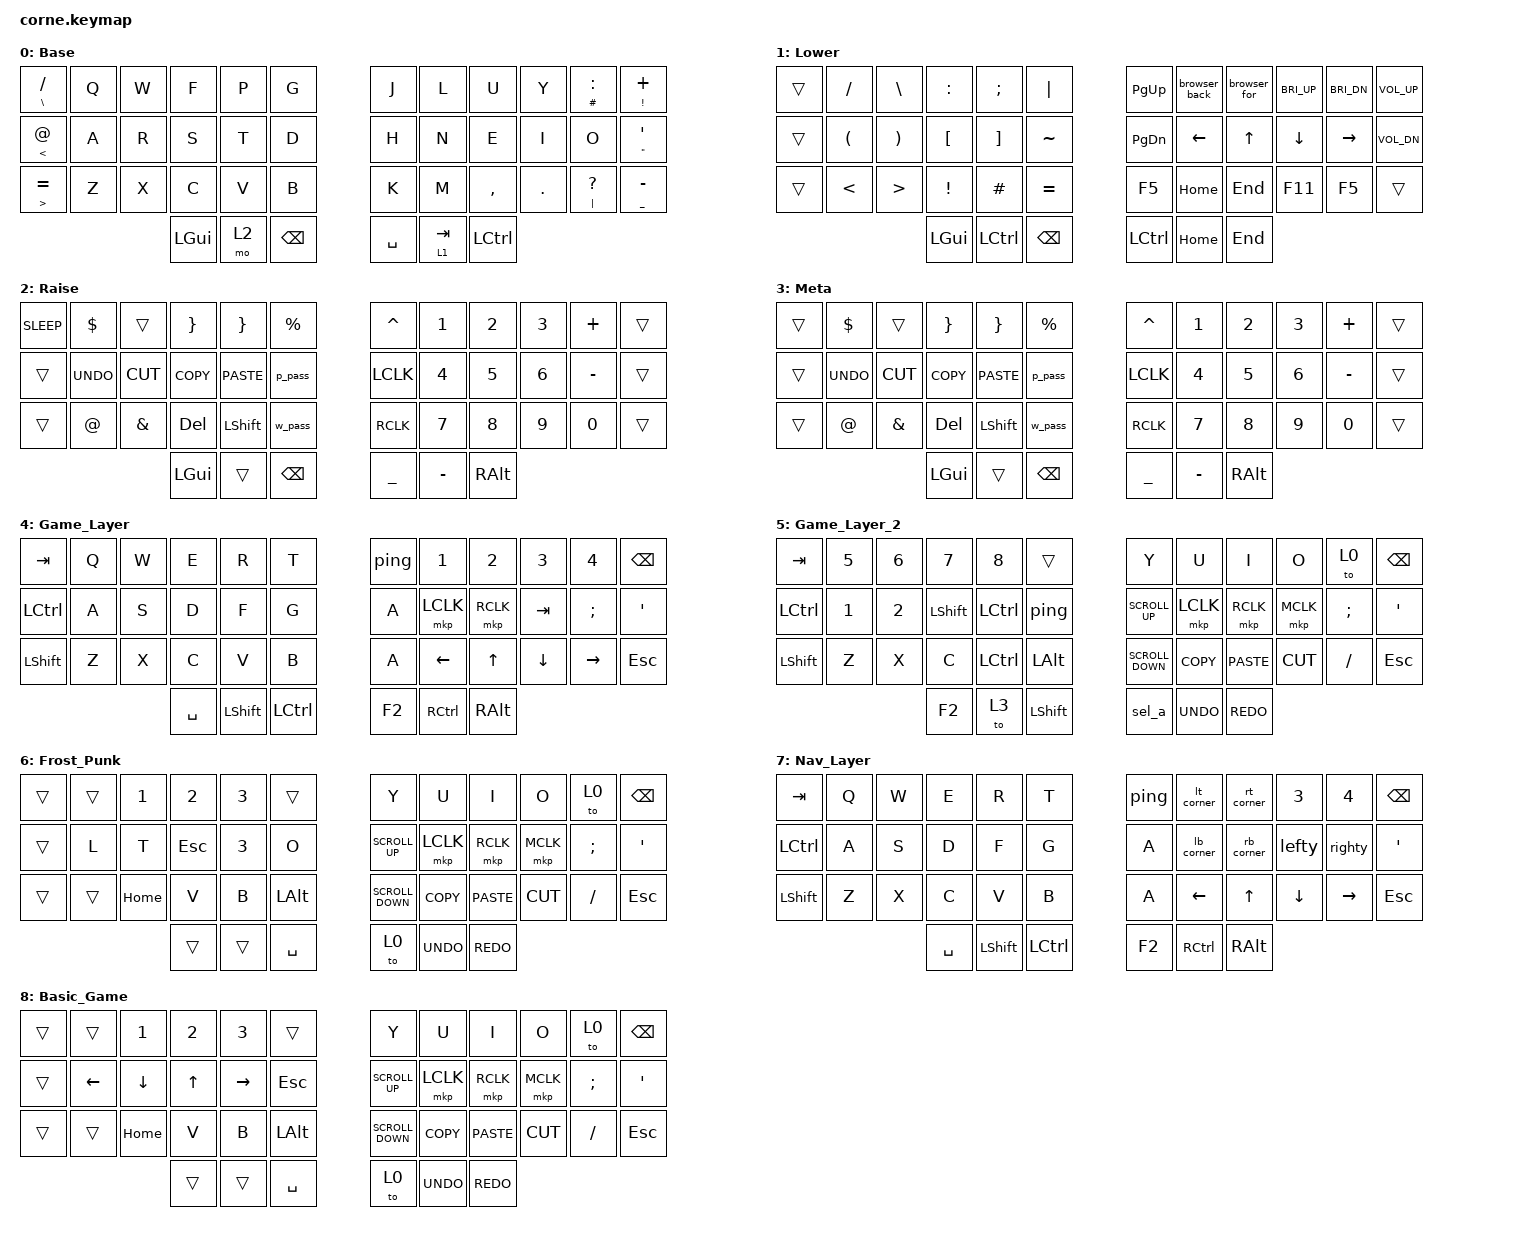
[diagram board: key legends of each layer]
/*
 * Copyright (c) 2020 The ZMK Contributors
 *
 *
 * SPDX-License-Identifier: MIT
 */

#include <dt-bindings/zmk/mouse.h>
#include <behaviors.dtsi>
#include <dt-bindings/zmk/bt.h>
#include <dt-bindings/zmk/keys.h>
#include <dt-bindings/zmk/pointing.h>

/ {
    behaviors {
        rpi: require_prior_idle {
            compatible = "zmk,behavior-hold-tap";
            label = "REQUIRE_PRIOR_IDLE";
            #binding-cells = <2>;
            flavor = "tap-preferred";
            tapping-term-ms = <200>;
            quick-tap-ms = <200>;
            require-prior-idle-ms = <125>;
            bindings = <&kp>, <&kp>;
        };
    };

    combos {
        compatible = "zmk,combos";

        //        l_paren {
        //            timeout-ms = <50>;
        //            key-positions = <6 7>;
        //            bindings = <&kp LPAR>;
        //            require-prior-idle-ms = <125>;
        //            layers = <1>;
        //        };
        //        r_paren {
        //            timeout-ms = <50>;
        //            key-positions = <7 8>;
        //            bindings = <&kp RPAR>;
        //            require-prior-idle-ms = <125>;
        //            layers = <1>;
        //        };
        //        l_brack {
        //            timeout-ms = <50>;
        //            key-positions = <8 9>;
        //            bindings = <&kp LBKT>;
        //            require-prior-idle-ms = <125>;
        //            layers = <1>;
        //        };
        //        r_brack {
        //            timeout-ms = <50>;
        //            key-positions = <9 10>;
        //            bindings = <&kp RBKT>;
        //            require-prior-idle-ms = <125>;
        //            layers = <1>;
        //        };
        //        add {
        //            timeout-ms = <100>;
        //            key-positions = <18 19>;
        //            bindings = <&kp PLUS>;
        //            require-prior-idle-ms = <125>;
        //            layers = <1>;
        //        };

        apple_key {
            timeout-ms = <100>;
            key-positions = <19 20 21 22>;
            bindings = <&kp LGUI>;
            require-prior-idle-ms = <125>;
        };

        ctrler {
            timeout-ms = <100>;
            key-positions = <20 21 22>;
            bindings = <&sk LCTRL>;
            require-prior-idle-ms = <125>;
        };

        alter {
            timeout-ms = <100>;
            key-positions = <19 20 21>;
            bindings = <&sk LALT>;
            require-prior-idle-ms = <125>;
        };

        lapple_key {
            timeout-ms = <100>;
            key-positions = <13 14 15 16>;
            bindings = <&kp LGUI>;
            require-prior-idle-ms = <125>;
        };

        lctrler {
            timeout-ms = <100>;
            key-positions = <13 14 15>;
            bindings = <&sk LCTRL>;
            require-prior-idle-ms = <125>;
        };

        lalter {
            timeout-ms = <100>;
            key-positions = <14 15 16>;
            bindings = <&sk LALT>;
            require-prior-idle-ms = <125>;
        };

        tabs {
            timeout-ms = <100>;
            key-positions = <39 40>;
            bindings = <&kp TAB>;
            require-prior-idle-ms = <125>;
        };

        ents {
            timeout-ms = <100>;
            key-positions = <38 39>;
            bindings = <&kp RET>;
            require-prior-idle-ms = <125>;
        };

        bt1 {
            timeout-ms = <100>;
            key-positions = <0 1 6>;
            bindings = <&bt BT_SEL 0>;
            require-prior-idle-ms = <125>;
        };

        bt2 {
            timeout-ms = <100>;
            key-positions = <0 1 7>;
            bindings = <&bt BT_SEL 1>;
            require-prior-idle-ms = <125>;
        };

        bt3 {
            timeout-ms = <100>;
            key-positions = <0 1 8>;
            bindings = <&bt BT_SEL 2>;
            require-prior-idle-ms = <125>;
        };

        bt4 {
            timeout-ms = <100>;
            key-positions = <0 1 9>;
            bindings = <&bt BT_SEL 3>;
            require-prior-idle-ms = <125>;
        };

        bt5 {
            timeout-ms = <100>;
            key-positions = <0 1 10>;
            bindings = <&bt BT_SEL 4>;
            require-prior-idle-ms = <125>;
        };

        btclr {
            timeout-ms = <100>;
            key-positions = <0 1 11>;
            bindings = <&bt BT_CLR>;
            require-prior-idle-ms = <125>;
        };

        btclall {
            timeout-ms = <100>;
            key-positions = <0 1 18>;
            bindings = <&bt BT_CLR>;
            require-prior-idle-ms = <125>;
        };

        escapades {
            timeout-ms = <100>;
            key-positions = <17 18>;
            bindings = <&kp ESC>;
            require-prior-idle-ms = <125>;
        };

        //        cut {
        //            timeout-ms = <100>;
        //            key-positions = <26 27>;
        //            bindings = <&kp K_CUT>;
        //            require-prior-idle-ms = <125>;
        //        };
        //        copy {
        //            timeout-ms = <100>;
        //            key-positions = <27 28>;
        //            bindings = <&kp K_COPY>;
        //            require-prior-idle-ms = <125>;
        //            layers = <1>;
        //        };
        //        paste {
        //            timeout-ms = <100>;
        //            key-positions = <28 29>;
        //            bindings = <&kp K_PASTE>;
        //            require-prior-idle-ms = <125>;
        //            layers = <1>;
        //        };
        //        undo {
        //            timeout-ms = <100>;
        //            key-positions = <28 29>;
        //            bindings = <&kp K_UNDO>;
        //            require-prior-idle-ms = <125>;
        //            layers = <1>;
        //        };

        backer {
            timeout-ms = <100>;
            key-positions = <31 32>;
            bindings = <&browser_back>;
            require-prior-idle-ms = <125>;
        };

        forwarder {
            timeout-ms = <100>;
            key-positions = <33 34>;
            bindings = <&browser_for>;
            require-prior-idle-ms = <125>;
        };

        tilder {
            timeout-ms = <100>;
            key-positions = <36 37>;
            bindings = <&kp TILDE>;
            require-prior-idle-ms = <125>;
        };

        sw_right {
            timeout-ms = <100>;
            key-positions = <27 28>;
            bindings = <&sw_r>;
            require-prior-idle-ms = <125>;
            layers = <1>;
        };

        sw_left {
            timeout-ms = <100>;
            key-positions = <26 27>;
            bindings = <&sw_l>;
            require-prior-idle-ms = <125>;
            layers = <1>;
        };

        pan_right {
            timeout-ms = <100>;
            key-positions = <15 16>;
            bindings = <&pan_r>;
            require-prior-idle-ms = <125>;
            layers = <1>;
        };

        pan_left {
            timeout-ms = <100>;
            key-positions = <14 15>;
            bindings = <&pan_l>;
            require-prior-idle-ms = <125>;
            layers = <1>;
        };

        mv_gm1 {
            timeout-ms = <100>;
            key-positions = <12 23>;
            bindings = <&to 3>;
            require-prior-idle-ms = <125>;
        };

        mv_nav {
            timeout-ms = <100>;
            key-positions = <13 14 15 16>;
            bindings = <&mo 5>;
            require-prior-idle-ms = <125>;
        };

        mv_base {
            timeout-ms = <100>;
            key-positions = <7 8 9 10>;
            bindings = <&to 0>;
            require-prior-idle-ms = <125>;
        };

        basic_gm {
            timeout-ms = <100>;
            key-positions = <0 11>;
            bindings = <&to 8>;
            require-prior-idle-ms = <125>;
        };

        //        mv_maclayer {
        //            timeout-ms = <100>;
        //            key-positions = <1 10>;
        //            bindings = <&to 5>;
        //            require-prior-idle-ms = <125>;
        //        };    
        //        sw_col {
        //            timeout-ms = <100>;
        //            key-positions = <36 41>;
        //            bindings = <&colemak>;
        //            require-prior-idle-ms = <125>;
        //        };
        //        sc_esc {
        //            timeout-ms = <100>;
        //            key-positions = <13 14 15 16>;
        //            bindings = <&mo 5>;
        //            require-prior-idle-ms = <125>;
        //        };
        //        sc_tab {
        //            timeout-ms = <100>;
        //            key-positions = <19 20 21>;
        //            bindings = <&kp ESC>;
        //            require-prior-idle-ms = <125>;
        //        };

        shifter {
            timeout-ms = <100>;
            key-positions = <37 38>;
            bindings = <&sk LSHFT>;
            require-prior-idle-ms = <125>;
        };

        mod_three {
            timeout-ms = <100>;
            key-positions = <37 40>;
            bindings = <&mo 3>;
            require-prior-idle-ms = <125>;
        };
    };

    macros {
        colemak: colemak {
            label = "colemak";
            compatible = "zmk,behavior-macro";
            #binding-cells = <0>;
            bindings =
                <&macro_press>,
                <&kp LGUI>,
                <&macro_press>,
                <&kp SPACE>,
                <&macro_release>,
                <&kp SPACE>,
                <&macro_release>,
                <&kp LGUI>;
        };

        sel_a: sel_a {
            label = "sel_a";
            compatible = "zmk,behavior-macro";
            #binding-cells = <0>;
            bindings = <&sk LCTRL &kp A>;
        };

        sw_r: sw_r {
            label = "sw_r";
            compatible = "zmk,behavior-macro";
            #binding-cells = <0>;
            bindings =
                <&macro_press>,
                <&kp LGUI>,
                <&macro_press>,
                <&kp LCTRL>,
                <&macro_tap>,
                <&kp RIGHT>,
                <&macro_release>,
                <&kp LCTRL>,
                <&macro_release>,
                <&kp LGUI>;
        };

        sw_l: sw_l {
            label = "sw_l";
            compatible = "zmk,behavior-macro";
            #binding-cells = <0>;
            bindings =
                <&macro_press>,
                <&kp LGUI>,
                <&macro_press>,
                <&kp LCTRL>,
                <&macro_tap>,
                <&kp LEFT>,
                <&macro_release>,
                <&kp LCTRL>,
                <&macro_release>,
                <&kp LGUI>;
        };

        pan_r: pan_r {
            label = "pan_r";
            compatible = "zmk,behavior-macro";
            #binding-cells = <0>;
            bindings =
                <&macro_press>,
                <&kp LALT>,
                <&macro_tap>,
                <&kp TAB>,
                <&macro_release>,
                <&kp LALT>;
        };

        pan_l: pan_l {
            label = "pan_l";
            compatible = "zmk,behavior-macro";
            #binding-cells = <0>;
            bindings =
                <&macro_press>,
                <&kp LALT>,
                <&macro_press>,
                <&kp LSHFT>,
                <&macro_tap>,
                <&kp TAB>,
                <&macro_release>,
                <&kp LSHFT>,
                <&macro_release>,
                <&kp LALT>;
        };

        w_delete: w_delete {
            label = "w_delete";
            compatible = "zmk,behavior-macro";
            #binding-cells = <0>;
            bindings = <&kp LSHFT &kp T>;
        };

        p_pass: p_pass {
            label = "p_pass";
            compatible = "zmk,behavior-macro";
            #binding-cells = <0>;
            bindings = <&sk LSHFT &kp P &kp S &kp I &kp A &kp C &kp T &kp I &kp V &kp E &kp N1 &kp QMARK &kp RET>;
        };

        w_pass: w_pass {
            label = "\_pass";
            compatible = "zmk,behavior-macro";
            #binding-cells = <0>;
            bindings = <&sk LSHFT &kp W &kp H &kp A &kp T &kp C &kp O &kp U &kp L &kp D &kp G &kp O &kp W &kp R &kp O &kp N &kp G &kp N7 &kp QMARK &kp RET>;
        };

        ping: ping {
            label = "ping";
            compatible = "zmk,behavior-macro";
            #binding-cells = <0>;
            bindings =
                <&macro_press>,
                <&kp LALT>,
                <&macro_press>,
                <&kp G>,
                <&macro_release>,
                <&kp G>,
                <&macro_release>,
                <&kp LALT>;
        };

        sc_crtl: sc_crtl {
            label = "sc_crtl";
            compatible = "zmk,behavior-macro";
            #binding-cells = <0>;
            bindings =
                <&macro_press>,
                <&mo 4>,
                <&macro_press>,
                <&kp LCTRL>,
                <&macro_release>,
                <&kp LCTRL>,
                <&macro_release>,
                <&mo 4>;
        };

        speed_up: speed_up {
            label = "speed_up";
            compatible = "zmk,behavior-macro";
            #binding-cells = <0>;
            bindings =
                <&macro_press>,
                <&kp LALT>,
                <&macro_press>,
                <&kp LSHFT>,
                <&macro_press>,
                <&kp UP>,
                <&macro_release>,
                <&kp LALT>,
                <&macro_release>,
                <&kp LSHFT>,
                <&macro_release>,
                <&kp UP>;
        };

        speed_dn: speed_dn {
            label = "speed_dn";
            compatible = "zmk,behavior-macro";
            #binding-cells = <0>;
            bindings =
                <&macro_press>,
                <&kp LALT>,
                <&macro_press>,
                <&kp LSHFT>,
                <&macro_press>,
                <&kp DOWN>,
                <&macro_release>,
                <&kp LALT>,
                <&macro_release>,
                <&kp LSHFT>,
                <&macro_release>,
                <&kp DOWN>;
        };

        rt_corner: rt_corner {
            label = "rt_corner";
            compatible = "zmk,behavior-macro";
            #binding-cells = <0>;
            bindings =
                <&macro_press>,
                <&kp LALT>,
                <&macro_press>,
                <&kp LCTRL>,
                <&macro_press>,
                <&kp I>,
                <&macro_release>,
                <&kp LALT>,
                <&macro_release>,
                <&kp LCTRL>,
                <&macro_release>,
                <&kp I>;
        };

        rb_corner: rb_corner {
            label = "rb_corner";
            compatible = "zmk,behavior-macro";
            #binding-cells = <0>;
            bindings =
                <&macro_press>,
                <&kp LALT>,
                <&macro_press>,
                <&kp LCTRL>,
                <&macro_press>,
                <&kp K>,
                <&macro_release>,
                <&kp LALT>,
                <&macro_release>,
                <&kp LCTRL>,
                <&macro_release>,
                <&kp K>;
        };

        lt_corner: lt_corner {
            label = "lt_corner";
            compatible = "zmk,behavior-macro";
            #binding-cells = <0>;
            bindings =
                <&macro_press>,
                <&kp LALT>,
                <&macro_press>,
                <&kp LCTRL>,
                <&macro_press>,
                <&kp U>,
                <&macro_release>,
                <&kp LALT>,
                <&macro_release>,
                <&kp LCTRL>,
                <&macro_release>,
                <&kp U>;
        };

        lb_corner: lb_corner {
            label = "lb_corner";
            compatible = "zmk,behavior-macro";
            #binding-cells = <0>;
            bindings =
                <&macro_press>,
                <&kp LALT>,
                <&macro_press>,
                <&kp LCTRL>,
                <&macro_press>,
                <&kp J>,
                <&macro_release>,
                <&kp LALT>,
                <&macro_release>,
                <&kp LCTRL>,
                <&macro_release>,
                <&kp J>;
        };

        lefty: lefty {
            label = "lefty";
            compatible = "zmk,behavior-macro";
            #binding-cells = <0>;
            bindings =
                <&macro_press>,
                <&kp LALT>,
                <&macro_press>,
                <&kp LCTRL>,
                <&macro_press>,
                <&kp LEFT>,
                <&macro_release>,
                <&kp LALT>,
                <&macro_release>,
                <&kp LCTRL>,
                <&macro_release>,
                <&kp LEFT>;
        };

        righty: righty {
            label = "righty";
            compatible = "zmk,behavior-macro";
            #binding-cells = <0>;
            bindings =
                <&macro_press>,
                <&kp LALT>,
                <&macro_press>,
                <&kp LCTRL>,
                <&macro_press>,
                <&kp RIGHT>,
                <&macro_release>,
                <&kp LALT>,
                <&macro_release>,
                <&kp LCTRL>,
                <&macro_release>,
                <&kp RIGHT>;
        };

        browser_back: browser_back {
            label = "browser_back";
            compatible = "zmk,behavior-macro";
            #binding-cells = <0>;
            bindings =
                <&macro_press>,
                <&kp LALT>,
                <&macro_press>,
                <&kp LEFT>,
                <&macro_release>,
                <&kp LEFT>,
                <&macro_release>,
                <&kp LALT>;
        };

        browser_for: browser_for {
            label = "browser_for";
            compatible = "zmk,behavior-macro";
            #binding-cells = <0>;
            bindings =
                <&macro_press>,
                <&kp LALT>,
                <&macro_press>,
                <&kp RIGHT>,
                <&macro_release>,
                <&kp RIGHT>,
                <&macro_release>,
                <&kp LALT>;
        };
    };

    keymap {
        compatible = "zmk,keymap";

        default_layer {
            // -----------------------------------------------------------------------------------------
            // |  0  |  1  |  2  |  3  | 4   |  5  |        |   6  |   7  |   8  |   9  |  10  |  11  |
            // | 12  | 13  | 14  | 15  | 16  | 17  |        |  18  |  19  |  20  |  21  |  22  |  23  |
            // | 24  | 25  | 26  | 27  | 28  | 29  |        |  30  |  31  |  32  |  33  |  34  |  35  |
            //                |  36  | 37   |  38  |        |  39  |  40  |  41  |
            // -----------------------------------------------------------------------------------------
            // |  TAB |  Q  |  W  |  F  |  P  |  G  |     |  J  |  L   |  U  |  Y  |  ;  | BKSP |
            // | CTRL |  A  |  R  |  S  |  T  |  D  |     |  H  |  N   |  E  |  I  |  O  |  '   |
            // | SHFT |  Z  |  X  |  C  |  V  |  B  |     |  K  |  M   |  ,  |  .  |  /  | ESC  |
            //                    | GUI | LWR | SPC |     | ENT | RSE  | ALT |

            label = "Base";
            bindings = <
&mt BSLH FSLH  &kp Q  &kp W  &kp F     &kp P  &kp G       &kp J      &kp L      &kp U      &kp Y    &mt HASH COLON  &mt EXCL PLUS
&mt LT AT      &kp A  &kp R  &kp S     &kp T  &kp D       &kp H      &kp N      &kp E      &kp I    &kp O           &mt DQT SQT
&mt GT EQUAL   &kp Z  &kp X  &kp C     &kp V  &kp B       &kp K      &kp M      &kp COMMA  &kp DOT  &mt PIPE QMARK  &mt UNDER MINUS
                             &kp LGUI  &mo 2  &kp BSPC    &kp SPACE  &lt 1 TAB  &kp LCTRL
            >;
        };

        lower_layer {
            // -----------------------------------------------------------------------------------------
            // |  TAB |  1  |  2  |  3  |  4  |  5  |   |  6  |  7  |  8  |  9  |  0  | BKSP |
            // | BTCLR| BT1 | BT2 | BT3 | BT4 | BT5 |   | LFT | DWN |  UP | RGT |     |      |
            // | SHFT |     |     |     |     |     |   |     |     |     |     |     |      |
            //                    | GUI |     | SPC |   | ENT |     | ALT |

            label = "Lower";
            bindings = <
&trans  &kp FSLH  &kp BSLH  &kp COLON  &kp SEMI   &kp PIPE     &kp PG_UP  &browser_back  &browser_for  &kp C_BRI_UP  &kp C_BRI_DN  &kp C_VOL_UP
&trans  &kp LPAR  &kp RPAR  &kp LBKT   &kp RBKT   &kp TILDE    &kp PG_DN  &kp LEFT       &kp UP        &kp DOWN      &kp RIGHT     &kp C_VOL_DN
&trans  &kp LT    &kp GT    &kp EXCL   &kp HASH   &kp EQUAL    &kp F5     &kp HOME       &kp END       &kp F11       &kp F5        &trans
                            &kp LGUI   &kp LCTRL  &kp BSPC     &kp LCTRL  &kp HOME       &kp END
            >;
        };

        raise_layer {
            // -----------------------------------------------------------------------------------------
            // |  TAB |  !  |  @  |  #  |  $  |  %  |   |  ^  |  &  |  *  |  (  |  )  | BKSP |
            // | CTRL |     |     |     |     |     |   |  -  |  =  |  [  |  ]  |  \  |  `   |
            // | SHFT |     |     |     |     |     |   |  _  |  +  |  {  |  }  | "|" |  ~   |
            //                    | GUI |     | SPC |   | ENT |     | ALT |

            label = "Raise";
            bindings = <
&kp C_SLEEP  &kp DLLR    &trans     &kp RBRC    &kp RBRC     &kp PRCNT    &kp CARET  &kp N1     &kp N2    &kp N3  &kp PLUS   &trans
&trans       &kp K_UNDO  &kp K_CUT  &kp K_COPY  &kp K_PASTE  &p_pass      &kp LCLK   &kp N4     &kp N5    &kp N6  &kp MINUS  &trans
&trans       &kp AT      &kp AMPS   &kp DEL     &kp LSHFT    &w_pass      &kp RCLK   &kp N7     &kp N8    &kp N9  &kp N0     &trans
                                    &kp LGUI    &trans       &kp BSPC     &kp UNDER  &kp MINUS  &kp RALT
            >;
        };

        meta_layer {
            // -----------------------------------------------------------------------------------------
            // |  TAB |  !  |  @  |  #  |  $  |  %  |   |  ^  |  &  |  *  |  (  |  )  | BKSP |
            // | CTRL |     |     |     |     |     |   |  -  |  =  |  [  |  ]  |  \  |  `   |
            // | SHFT |     |     |     |     |     |   |  _  |  +  |  {  |  }  | "|" |  ~   |
            //                    | GUI |     | SPC |   | ENT |     | ALT |

            label = "Meta";
            bindings = <
&trans  &kp DLLR    &trans     &kp RBRC    &kp RBRC     &kp PRCNT    &kp CARET  &kp N1     &kp N2    &kp N3  &kp PLUS   &trans
&trans  &kp K_UNDO  &kp K_CUT  &kp K_COPY  &kp K_PASTE  &p_pass      &kp LCLK   &kp N4     &kp N5    &kp N6  &kp MINUS  &trans
&trans  &kp AT      &kp AMPS   &kp DEL     &kp LSHFT    &w_pass      &kp RCLK   &kp N7     &kp N8    &kp N9  &kp N0     &trans
                               &kp LGUI    &trans       &kp BSPC     &kp UNDER  &kp MINUS  &kp RALT
            >;
        };

        game_layer {
            // -----------------------------------------------------------------------------------------
            // |  TAB |  Q  |  W  |  E  |  R  |  T  |   |  Y  |  U   |  I  |  O  |  P  | BKSP |
            // | CTRL |  A  |  S  |  D  |  F  |  G  |   |  H  |  J   |  K  |  L  |  ;  |  '   |
            // | SHFT |  Z  |  X  |  C  |  V  |  B  |   |  N  |  M   |  ,  |  .  |  /  | ESC  |
            //                    | GUI | LWR | SPC |   | ENT | RSE  | ALT |

            label = "Game_Layer";
            bindings = <
&kp TAB    &kp Q  &kp W  &kp E      &kp R      &kp T        &ping   &kp N1     &kp N2     &kp N3    &kp N4     &kp BSPC
&kp LCTRL  &kp A  &kp S  &kp D      &kp F      &kp G        &kp A   &mkp LCLK  &mkp RCLK  &kp TAB   &kp SEMI   &kp SQT
&kp LSHFT  &kp Z  &kp X  &kp C      &kp V      &kp B        &kp A   &kp LEFT   &kp UP     &kp DOWN  &kp RIGHT  &kp ESC
                         &kp SPACE  &kp LSHFT  &kp LCTRL    &kp F2  &kp RCTRL  &kp RALT
            >;
        };

        game_layer_2 {
            // -----------------------------------------------------------------------------------------
            // |  TAB |  Q  |  W  |  E  |  R  |  T  |   |  Y  |  U   |  I  |  O  |  P  | BKSP |
            // | CTRL |  A  |  S  |  D  |  F  |  G  |   |  H  |  J   |  K  |  L  |  ;  |  '   |
            // | SHFT |  Z  |  X  |  C  |  V  |  B  |   |  N  |  M   |  ,  |  .  |  /  | ESC  |
            //                    | GUI | LWR | SPC |   | ENT | RSE  | ALT |

            label = "Game_Layer_2";
            bindings = <
&kp TAB    &kp N5  &kp N6  &kp N7     &kp N8     &trans       &kp Y              &kp U       &kp I        &kp O      &to 0     &kp BSPC
&kp LCTRL  &kp N1  &kp N2  &kp LSHFT  &kp LCTRL  &ping        &kp K_SCROLL_UP    &mkp LCLK   &mkp RCLK    &mkp MCLK  &kp SEMI  &kp SQT
&kp LSHFT  &kp Z   &kp X   &kp C      &kp LCTRL  &kp LALT     &kp K_SCROLL_DOWN  &kp K_COPY  &kp K_PASTE  &kp K_CUT  &kp FSLH  &kp ESC
                           &kp F2     &to 3      &kp LSHFT    &sel_a             &kp K_UNDO  &kp K_REDO
            >;
        };

        frost_punk {
            // -----------------------------------------------------------------------------------------
            // |  TAB |  Q  |  W  |  E  |  R  |  T  |   |  Y  |  U   |  I  |  O  |  P  | BKSP |
            // | CTRL |  A  |  S  |  D  |  F  |  G  |   |  H  |  J   |  K  |  L  |  ;  |  '   |
            // | SHFT |  Z  |  X  |  C  |  V  |  B  |   |  N  |  M   |  ,  |  .  |  /  | ESC  |
            //                    | GUI | LWR | SPC |   | ENT | RSE  | ALT |

            label = "Frost_Punk";
            bindings = <
&trans  &trans  &kp N1    &kp N2   &kp N3  &trans       &kp Y              &kp U       &kp I        &kp O      &to 0     &kp BSPC
&trans  &kp L   &kp T     &kp ESC  &kp N3  &kp O        &kp K_SCROLL_UP    &mkp LCLK   &mkp RCLK    &mkp MCLK  &kp SEMI  &kp SQT
&trans  &trans  &kp HOME  &kp V    &kp B   &kp LALT     &kp K_SCROLL_DOWN  &kp K_COPY  &kp K_PASTE  &kp K_CUT  &kp FSLH  &kp ESC
                          &trans   &trans  &kp SPACE    &to 0              &kp K_UNDO  &kp K_REDO
            >;
        };

        nav_layer {
            // -----------------------------------------------------------------------------------------
            // |  0  |  1  |  2  |  3  | 4   |  5  |        |   6  |   7  |   8  |   9  |  10  |  11  |
            // | 12  | 13  | 14  | 15  | 16  | 17  |        |  18  |  19  |  20  |  21  |  22  |  23  |
            // | 24  | 25  | 26  | 27  | 28  | 29  |        |  30  |  31  |  32  |  33  |  34  |  35  |
            //                |  36  | 37   |  38  |        |  39  |  40  |  41  |
            // -----------------------------------------------------------------------------------------
            // -----------------------------------------------------------------------------------------
            // |  TAB |  Q  |  W  |  E  |  R  |  T  |   |  Y  |  U   |  I  |  O  |  P  | BKSP |
            // | CTRL |  A  |  S  |  D  |  F  |  G  |   |  H  |  J   |  K  |  L  |  ;  |  '   |
            // | SHFT |  Z  |  X  |  C  |  V  |  B  |   |  N  |  M   |  ,  |  .  |  /  | ESC  |
            //                    | GUI | LWR | SPC |   | ENT | RSE  | ALT |

            label = "Nav_Layer";
            bindings = <
&kp TAB    &kp Q  &kp W  &kp E      &kp R      &kp T        &ping   &lt_corner  &rt_corner  &kp N3    &kp N4     &kp BSPC
&kp LCTRL  &kp A  &kp S  &kp D      &kp F      &kp G        &kp A   &lb_corner  &rb_corner  &lefty    &righty    &kp SQT
&kp LSHFT  &kp Z  &kp X  &kp C      &kp V      &kp B        &kp A   &kp LEFT    &kp UP      &kp DOWN  &kp RIGHT  &kp ESC
                         &kp SPACE  &kp LSHFT  &kp LCTRL    &kp F2  &kp RCTRL   &kp RALT
            >;
        };

        basic_game {
            // -----------------------------------------------------------------------------------------
            // |  TAB |  Q  |  W  |  E  |  R  |  T  |   |  Y  |  U   |  I  |  O  |  P  | BKSP |
            // | CTRL |  A  |  S  |  D  |  F  |  G  |   |  H  |  J   |  K  |  L  |  ;  |  '   |
            // | SHFT |  Z  |  X  |  C  |  V  |  B  |   |  N  |  M   |  ,  |  .  |  /  | ESC  |
            //                    | GUI | LWR | SPC |   | ENT | RSE  | ALT |

            label = "Basic_Game";
            bindings = <
&trans  &trans    &kp N1    &kp N2  &kp N3     &trans       &kp Y              &kp U       &kp I        &kp O      &to 0     &kp BSPC
&trans  &kp LEFT  &kp DOWN  &kp UP  &kp RIGHT  &kp ESC      &kp K_SCROLL_UP    &mkp LCLK   &mkp RCLK    &mkp MCLK  &kp SEMI  &kp SQT
&trans  &trans    &kp HOME  &kp V   &kp B      &kp LALT     &kp K_SCROLL_DOWN  &kp K_COPY  &kp K_PASTE  &kp K_CUT  &kp FSLH  &kp ESC
                            &trans  &trans     &kp SPACE    &to 0              &kp K_UNDO  &kp K_REDO
            >;
        };
    };
};
